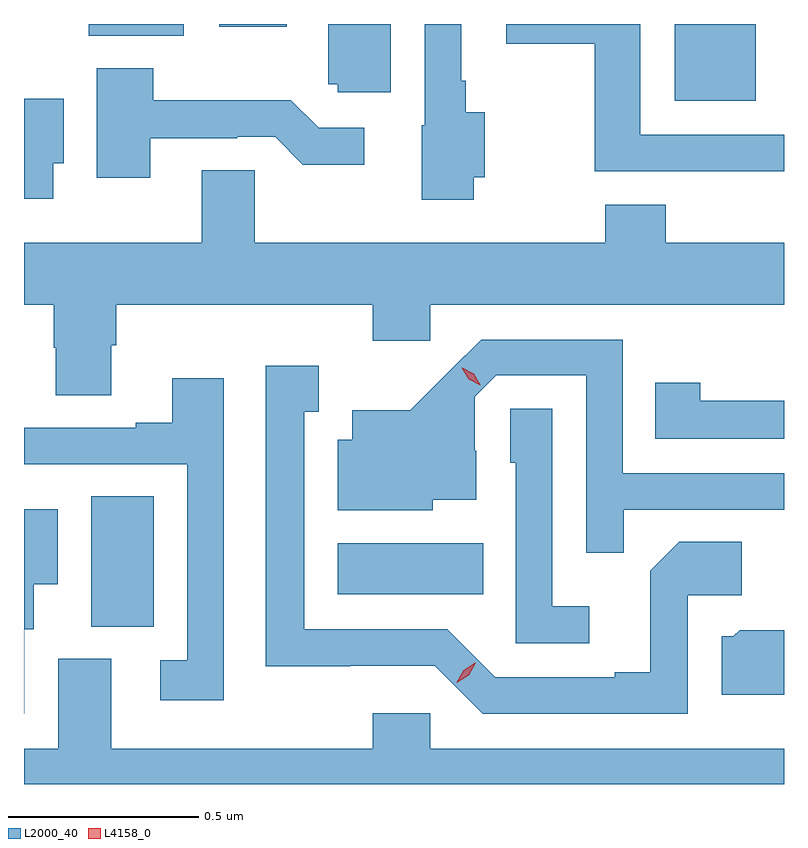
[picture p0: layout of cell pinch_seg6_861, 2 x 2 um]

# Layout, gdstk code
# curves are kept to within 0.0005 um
import gdstk
lib = gdstk.Library(unit=1e-6, precision=1e-09)
def R(c, l, rs):  # rectangles x0, y0, x1, y1
    for r in rs: c.add(gdstk.rectangle(r[:2], r[2:], *l))
def P(c, l, *ps):  # polygons
    for p in ps: c.add(gdstk.Polygon(p, *l))
L2000_40 = (2000, 40)
L4158_0 = (4158, 0)

pinch_seg6_861 = lib.new_cell('pinch_seg6_861')
R(pinch_seg6_861, L2000_40, [(126.29,971.797,126.454,972.14), (126.938,971.882,127.322,972.016), (127.826,973.181,128.038,973.383), (126.284,973.352,126.534,973.383), (126.627,973.376,126.805,973.383)])
P(pinch_seg6_861, L2000_40, [(127.296,972.98),(127.326,972.98),(127.326,973.151),(127.276,973.151),(127.276,973.234),(127.263,973.234),(127.263,973.383),(127.167,973.383),(127.167,973.116),(127.16,973.116),(127.16,972.92),(127.296,972.92)],
  [(128.113,973.092),(127.735,973.092),(127.735,973.383),(127.382,973.383),(127.382,973.331),(127.615,973.331),(127.615,972.995),(128.113,972.995)],
  [(127.078,973.383),(126.914,973.383),(126.914,973.224),(126.939,973.224),(126.939,973.203),(127.078,973.203)],
  [(126.445,973.083),(126.674,973.083),(126.674,973.086),(126.774,973.086),(126.847,973.013),(127.009,973.013),(127.009,973.11),(126.888,973.11),(126.815,973.183),(126.453,973.183),(126.453,973.267),(126.305,973.267),(126.305,972.978),(126.445,972.978)],
  [(126.19,973.017),(126.217,973.017),(126.217,973.186),(126.113,973.186),(126.113,972.923),(126.19,972.923)],
  [(126.343,972.538),(126.356,972.538),(126.356,972.644),(127.031,972.644),(127.031,972.549),(127.182,972.549),(127.182,972.644),(128.113,972.644),(128.113,972.808),(127.802,972.808),(127.802,972.907),(127.642,972.907),(127.642,972.808),(126.72,972.808),(126.72,972.998),(126.581,972.998),(126.581,972.808),(126.113,972.808),(126.113,972.644),(126.191,972.644),(126.191,972.531),(126.196,972.531),(126.196,972.406),(126.343,972.406)],
  [(127.691,972.105),(128.113,972.105),(128.113,972.201),(127.689,972.201),(127.689,972.552),(127.316,972.552),(127.129,972.367),(126.977,972.367),(126.977,972.289),(126.938,972.289),(126.938,972.104),(127.188,972.104),(127.188,972.131),(127.303,972.131),(127.303,972.26),(127.299,972.26),(127.299,972.402),(127.356,972.459),(127.593,972.459),(127.593,971.992),(127.691,971.992)],
  [(127.86,971.88),(128.002,971.88),(128.002,972.02),(127.837,972.02),(127.761,971.944),(127.761,971.677),(127.667,971.677),(127.667,971.664),(127.353,971.664),(127.227,971.79),(126.85,971.79),(126.85,972.363),(126.889,972.363),(126.889,972.484),(126.749,972.484),(126.749,971.693),(126.972,971.693),(126.972,971.694),(127.194,971.694),(127.32,971.568),(127.86,971.568)],
  [(126.639,972.451),(126.503,972.451),(126.503,972.334),(126.407,972.334),(126.407,972.321),(126.113,972.321),(126.113,972.225),(126.543,972.225),(126.543,971.709),(126.471,971.709),(126.471,971.604),(126.639,971.604)],
  [(128.113,972.392),(127.893,972.392),(127.893,972.439),(127.774,972.439),(127.774,972.291),(128.113,972.291)],
  [(127.6,971.851),(127.503,971.851),(127.503,972.371),(127.392,972.371),(127.392,972.228),(127.407,972.228),(127.407,971.754),(127.6,971.754)],
  [(126.114,971.79),(126.139,971.79),(126.139,971.909),(126.202,971.909),(126.202,972.106),(126.113,972.106),(126.113,971.568),(126.114,971.568)],
  [(128.113,971.788),(127.996,971.788),(127.98,971.772),(127.949,971.772),(127.949,971.618),(128.113,971.618)],
  [(128.113,971.476),(127.182,971.476),(127.182,971.569),(127.031,971.569),(127.031,971.476),(126.343,971.476),(126.343,971.712),(126.203,971.712),(126.203,971.476),(126.113,971.476),(126.113,971.383),(128.113,971.383)])
P(pinch_seg6_861, L4158_0, [(127.314,972.433),(127.283,972.448),(127.265,972.478),(127.265,972.478),(127.266,972.478),(127.296,972.463),(127.314,972.434),(127.314,972.433)],
  [(127.252,971.65),(127.252,971.651),(127.27,971.683),(127.301,971.702),(127.302,971.702),(127.302,971.702),(127.284,971.669),(127.252,971.65)])

lib.write_gds('pinch_seg6_861.gds')
